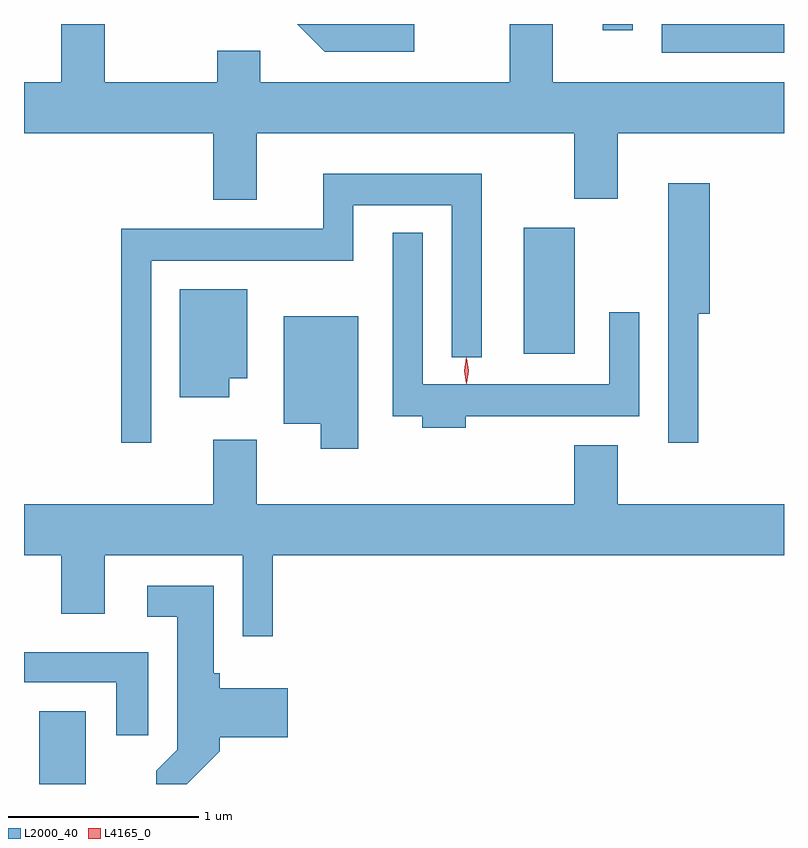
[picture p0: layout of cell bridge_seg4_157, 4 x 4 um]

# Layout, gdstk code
import gdstk
lib = gdstk.Library(unit=1e-6, precision=1e-09)
def R(c, l, rs):  # rectangles x0, y0, x1, y1
    for r in rs: c.add(gdstk.rectangle(r[:2], r[2:], *l))
def P(c, l, *ps):  # polygons
    for p in ps: c.add(gdstk.Polygon(p, *l))
L2000_40 = (2000, 40)
L4165_0 = (4165, 0)

bridge_seg4_157 = lib.new_cell('bridge_seg4_157')
R(bridge_seg4_157, L2000_40, [(867.606,1258.011,867.849,1258.394), (870.156,1260.276,870.424,1260.939), (870.881,1261.861,871.525,1262.011), (870.571,1261.978,870.729,1262.011)])
P(bridge_seg4_157, L2000_40, [(868.749,1261.436),(870.421,1261.436),(870.421,1261.091),(870.649,1261.091),(870.649,1261.436),(871.525,1261.436),(871.525,1261.704),(870.309,1261.704),(870.309,1262.011),(870.081,1262.011),(870.081,1261.704),(868.769,1261.704),(868.769,1261.869),(868.541,1261.869),(868.541,1261.704),(867.949,1261.704),(867.949,1262.011),(867.721,1262.011),(867.721,1261.704),(867.525,1261.704),(867.525,1261.436),(868.521,1261.436),(868.521,1261.086),(868.749,1261.086)],
  [(869.578,1262.011),(868.964,1262.011),(869.109,1261.866),(869.578,1261.866)],
  [(868.194,1260.766),(869.259,1260.766),(869.259,1261.056),(869.776,1261.056),(869.776,1260.258),(869.934,1260.258),(869.934,1261.224),(869.101,1261.224),(869.101,1260.934),(868.036,1260.934),(868.036,1259.808),(868.194,1259.808)],
  [(871.074,1260.486),(871.134,1260.486),(871.134,1261.174),(870.916,1261.174),(870.916,1259.808),(871.074,1259.808)],
  [(869.849,1259.946),(870.764,1259.946),(870.764,1260.493),(870.606,1260.493),(870.606,1260.114),(869.624,1260.114),(869.624,1260.913),(869.466,1260.913),(869.466,1259.946),(869.621,1259.946),(869.621,1259.886),(869.849,1259.886)],
  [(868.604,1260.146),(868.699,1260.146),(868.699,1260.614),(868.346,1260.614),(868.346,1260.046),(868.604,1260.046)],
  [(869.284,1260.474),(868.891,1260.474),(868.891,1259.906),(869.086,1259.906),(869.086,1259.776),(869.284,1259.776)],
  [(868.834,1259.216),(871.525,1259.216),(871.525,1259.484),(870.649,1259.484),(870.649,1259.794),(870.421,1259.794),(870.421,1259.484),(868.749,1259.484),(868.749,1259.824),(868.521,1259.824),(868.521,1259.484),(867.525,1259.484),(867.525,1259.216),(867.721,1259.216),(867.721,1258.906),(867.949,1258.906),(867.949,1259.216),(868.676,1259.216),(868.676,1258.788),(868.834,1258.788)],
  [(868.554,1258.184),(868.554,1258.256),(868.914,1258.256),(868.914,1258.514),(868.554,1258.514),(868.554,1258.594),(868.524,1258.594),(868.524,1259.054),(868.173,1259.054),(868.173,1258.891),(868.331,1258.891),(868.331,1258.192),(868.221,1258.082),(868.221,1258.011),(868.381,1258.011)],
  [(868.179,1258.704),(867.525,1258.704),(867.525,1258.546),(868.011,1258.546),(868.011,1258.268),(868.179,1258.268)])
P(bridge_seg4_157, L4165_0, [(869.855,1260.119),(869.855,1260.12),(869.845,1260.186),(869.855,1260.252),(869.855,1260.253),(869.856,1260.252),(869.865,1260.186),(869.856,1260.12)],
  [(869.853,1260.117),(869.852,1260.118),(869.843,1260.187),(869.852,1260.256),(869.853,1260.256),(869.853,1260.256),(869.863,1260.187),(869.853,1260.118)])

lib.write_gds('bridge_seg4_157.gds')
